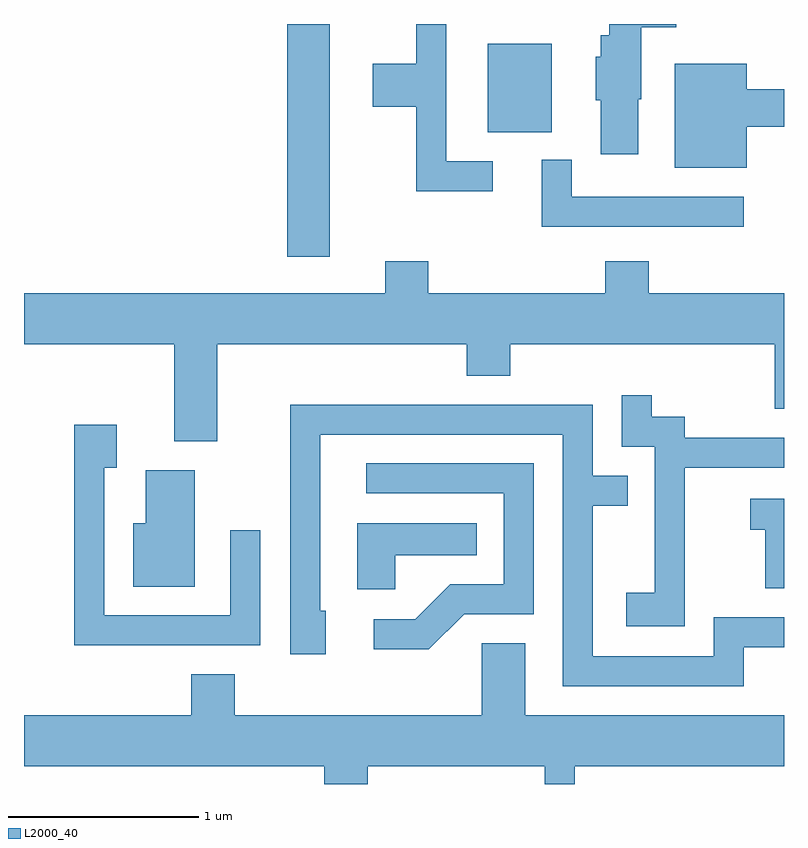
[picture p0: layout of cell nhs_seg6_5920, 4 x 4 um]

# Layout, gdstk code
import gdstk
lib = gdstk.Library(unit=1e-6, precision=1e-09)
def R(c, l, rs):  # rectangles x0, y0, x1, y1
    for r in rs: c.add(gdstk.rectangle(r[:2], r[2:], *l))
def P(c, l, *ps):  # polygons
    for p in ps: c.add(gdstk.Polygon(p, *l))
L2000_40 = (2000, 40)

nhs_seg6_5920 = lib.new_cell('nhs_seg6_5920')
R(nhs_seg6_5920, L2000_40, [(366.996,1554.936,367.219,1556.162), (368.051,1555.591,368.389,1556.059)])
P(nhs_seg6_5920, L2000_40, [(368.844,1555.765),(368.859,1555.765),(368.859,1556.146),(369.044,1556.146),(369.044,1556.162),(368.691,1556.162),(368.691,1556.104),(368.646,1556.104),(368.646,1555.989),(368.621,1555.989),(368.621,1555.761),(368.646,1555.761),(368.646,1555.476),(368.844,1555.476)],
  [(368.078,1555.439),(367.834,1555.439),(367.834,1556.162),(367.676,1556.162),(367.676,1555.954),(367.446,1555.954),(367.446,1555.726),(367.676,1555.726),(367.676,1555.281),(368.078,1555.281)],
  [(369.414,1555.621),(369.611,1555.621),(369.611,1555.819),(369.414,1555.819),(369.414,1555.954),(369.036,1555.954),(369.036,1555.406),(369.414,1555.406)],
  [(369.398,1555.254),(368.494,1555.254),(368.494,1555.448),(368.336,1555.448),(368.336,1555.096),(369.398,1555.096)],
  [(366.629,1554.476),(367.941,1554.476),(367.941,1554.311),(368.169,1554.311),(368.169,1554.476),(369.561,1554.476),(369.561,1554.136),(369.611,1554.136),(369.611,1554.744),(368.899,1554.744),(368.899,1554.914),(368.671,1554.914),(368.671,1554.744),(367.739,1554.744),(367.739,1554.914),(367.511,1554.914),(367.511,1554.744),(365.611,1554.744),(365.611,1554.476),(366.401,1554.476),(366.401,1553.966),(366.629,1553.966)],
  [(369.089,1553.826),(369.611,1553.826),(369.611,1553.984),(369.089,1553.984),(369.089,1554.094),(368.914,1554.094),(368.914,1554.208),(368.756,1554.208),(368.756,1553.936),(368.931,1553.936),(368.931,1553.169),(368.781,1553.169),(368.781,1552.991),(369.089,1552.991)],
  [(369.399,1552.881),(369.611,1552.881),(369.611,1553.039),(369.241,1553.039),(369.241,1552.834),(368.604,1552.834),(368.604,1553.626),(368.788,1553.626),(368.788,1553.784),(368.604,1553.784),(368.604,1554.159),(367.011,1554.159),(367.011,1552.846),(367.199,1552.846),(367.199,1553.074),(367.169,1553.074),(367.169,1554.001),(368.446,1554.001),(368.446,1552.676),(369.399,1552.676)],
  [(366.854,1553.498),(366.696,1553.498),(366.696,1553.049),(366.034,1553.049),(366.034,1553.826),(366.099,1553.826),(366.099,1554.054),(365.876,1554.054),(365.876,1552.891),(366.854,1552.891)],
  [(367.927,1553.056),(368.294,1553.056),(368.294,1553.849),(367.413,1553.849),(367.413,1553.691),(368.136,1553.691),(368.136,1553.214),(367.854,1553.214),(367.669,1553.029),(367.453,1553.029),(367.453,1552.871),(367.742,1552.871)],
  [(366.509,1553.814),(366.251,1553.814),(366.251,1553.534),(366.186,1553.534),(366.186,1553.201),(366.509,1553.201)],
  [(369.611,1553.664),(369.433,1553.664),(369.433,1553.501),(369.511,1553.501),(369.511,1553.191),(369.611,1553.191)],
  [(367.564,1553.366),(367.993,1553.366),(367.993,1553.534),(367.366,1553.534),(367.366,1553.186),(367.564,1553.186)],
  [(367.419,1552.256),(368.351,1552.256),(368.351,1552.162),(368.509,1552.162),(368.509,1552.256),(369.611,1552.256),(369.611,1552.524),(368.249,1552.524),(368.249,1552.904),(368.021,1552.904),(368.021,1552.524),(366.719,1552.524),(366.719,1552.739),(366.491,1552.739),(366.491,1552.524),(365.611,1552.524),(365.611,1552.256),(367.191,1552.256),(367.191,1552.162),(367.419,1552.162)])

lib.write_gds('nhs_seg6_5920.gds')
